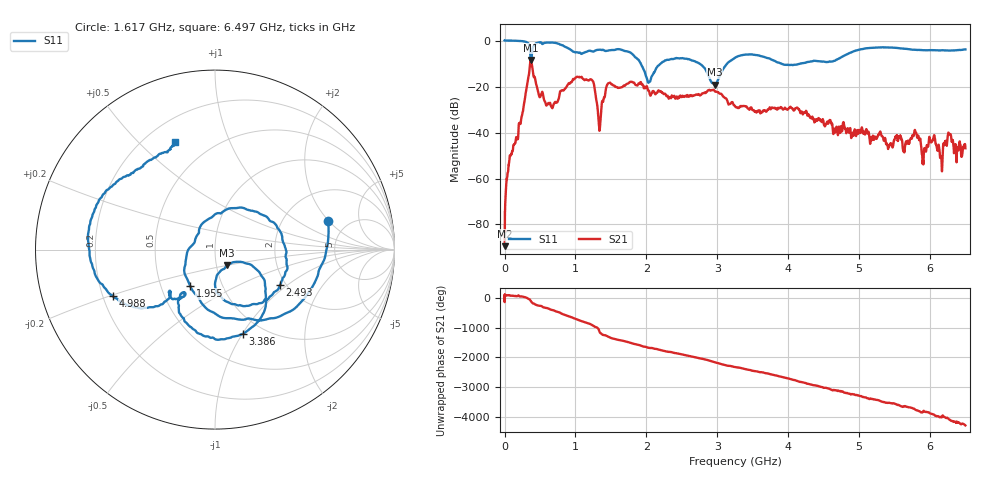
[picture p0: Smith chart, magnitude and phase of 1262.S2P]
!Keysight Technologies,E5063A,MY54503115,A.05.08
!Date: Mon Dec 04 17:57:01 2023
!Data & Calibration Information:
!Freq	S11:NONE(--)	S21:NONE(--)	S12:NONE(--)	S22:NONE(--)
# Hz S dB R 50
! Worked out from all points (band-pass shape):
!   10001 points, 100 kHz to 6.5 GHz, reference 50 ohm
!   highest |S21| = -8.45 dB at 367.3 MHz (marker M1); lowest = -89.4 dB at 100 kHz (marker M2)
!   |S21| within 3 dB of the highest: 354.5 MHz to 389.9 MHz (35.38 MHz wide, 9.51 % of centre)
!   lowest |S11| = -19.1 dB at 2.967 GHz (marker M3), VSWR 1.25, Z = 56.3 - j9.98 ohm
!   |S11| at or under -10 dB: 1.92 GHz to 2.199 GHz (278.2 MHz wide, 13.5 % of centre); 2.749 GHz to 3.141 GHz (391.6 MHz wide, 13.3 % of centre); 3.902 GHz to 4.173 GHz (271.2 MHz wide, 6.72 % of centre)
!   S12 and S22 are empty: the file has one direction only
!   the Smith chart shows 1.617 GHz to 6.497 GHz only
!   S11 on the Smith chart (normalised r, x): 1.617 GHz: 3.54, +1.94; 1.955 GHz: 0.70, -0.30; 2.493 GHz: 1.85, -0.89; 3.386 GHz: 0.81, -1.01; 4.988 GHz: 0.24, -0.21; 6.497 GHz: 0.32, +0.65
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100000  0.04 -0.5  -89.43 33.6  -200.00 0.0  -200.00 0.0
6.184905e7  -0.02 -19.9  -53.42 83.7  -200.00 0.0  -200.00 0.0
2.334464e8  -0.20 -76.7  -34.09 47.7  -200.00 0.0  -200.00 0.0
3.673444e8  -8.87 -139.5  -8.45 -106.1  -200.00 0.0  -200.00 0.0
5.811911e8  -0.90 172.0  -27.70 16.2  -200.00 0.0  -200.00 0.0
7.306888e8  -1.11 97.5  -27.01 -104.2  -200.00 0.0  -200.00 0.0
8.788865e8  -3.05 1.3  -19.81 119.4  -200.00 0.0  -200.00 0.0
9.75085e8  -4.88 -76.3  -16.83 32.1  -200.00 0.0  -200.00 0.0
1.083633e9  -5.81 -157.0  -15.75 -65.7  -200.00 0.0  -200.00 0.0
1.335829e9  -3.97 92.2  -38.90 -43.0  -200.00 0.0  -200.00 0.0
1.616625e9  -3.78 14.2  -20.56 17.5  -200.00 0.0  -200.00 0.0
1.95527e9  -12.21 -124.3  -19.62 162.0  -200.00 0.0  -200.00 0.0
2.167167e9  -10.92 52.4  -21.78 65.3  -200.00 0.0  -200.00 0.0
2.493462e9  -7.71 -28.8  -24.49 -101.5  -200.00 0.0  -200.00 0.0
2.966654e9  -19.12 -52.3  -22.15 -8.8  -200.00 0.0  -200.00 0.0
3.25005e9  -7.50 -47.9  -28.57 -170.0  -200.00 0.0  -200.00 0.0
3.385898e9  -6.12 -71.6  -28.49 129.2  -200.00 0.0  -200.00 0.0
4.333583e9  -9.01 -129.2  -33.67 -38.2  -200.00 0.0  -200.00 0.0
4.988123e9  -4.08 -155.4  -40.53 -43.7  -200.00 0.0  -200.00 0.0
5.417117e9  -3.02 162.4  -46.12 70.0  -200.00 0.0  -200.00 0.0
6.4974e9  -3.85 110.0  -45.69 33.3  -200.00 0.0  -200.00 0.0
6.5e9  -3.86 109.9  -46.84 29.1  -200.00 0.0  -200.00 0.0
